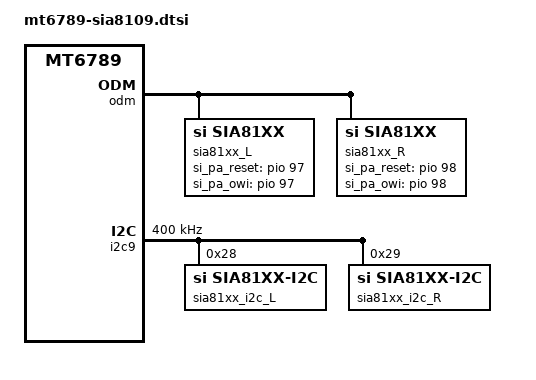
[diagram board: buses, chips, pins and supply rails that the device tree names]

/* Copyright (c) 2018, The Linux Foundation. All rights reserved.
 *
 * This program is free software; you can redistribute it and/or modify
 * it under the terms of the GNU General Public License version 2 and
 * only version 2 as published by the Free Software Foundation.
 *
 * This program is distributed in the hope that it will be useful,
 * but WITHOUT ANY WARRANTY; without even the implied warranty of
 * MERCHANTABILITY or FITNESS FOR A PARTICULAR PURPOSE.  See the
 * GNU General Public License for more details.
 */

&pio {
	sia81xx_gpio_L: sia81xx_gpio_L {
		pins_cmd_dat {
			pinmux = <PINMUX_GPIO97__FUNC_GPIO97>;

			slew-rate = <1>;
			bias-disable;
		};
	};

	sia81xx_gpio_R: sia81xx_gpio_R {
		pins_cmd_dat {
			pinmux = <PINMUX_GPIO98__FUNC_GPIO98>;

			slew-rate = <1>;
			bias-disable;
		};
	};
};

&odm {
	sia81xx_L: sia81xx@L {
		compatible = "si,sia81xx";
		si,si_pa_type = "sia8109";
		si,si_pa_reset = <&pio 97 0>;
		si,si_pa_owi = <&pio 97 0>;
		pinctrl-names = "si_pa_gpio";
		pinctrl-0 = <&sia81xx_gpio_L>;
		si,si_pa_disable_pin = <0>;
		/* the same value share a same task
		* valid value range : 0 ~ 7 */
		channel_num = <0>;

	};
	sia81xx_R: sia81xx@R {
		compatible = "si,sia81xx";
		si,si_pa_type = "sia8109";
		si,si_pa_reset = <&pio 98 0>;
		si,si_pa_owi = <&pio 98 0>;
		pinctrl-names = "si_pa_gpio";
		pinctrl-0 = <&sia81xx_gpio_R>;
		si,si_pa_disable_pin = <0>;

		/* the same value share a same task
		 * valid value range : 0 ~ 7 */
		channel_num = <1>;

	};
};

&sound {
	si,sia81xx-max-num = <2>;
	si,sia81xx-aux-devs = <&sia81xx_L>, <&sia81xx_R>;
	si,sia81xx-aux-devs-prefix = "SpkrLeft_One", "SpkrRight_One";
};

&accdet {
	accdet-mic-vol = <7>;
	headset-three-key-threshold = <0 82 170 400>;
};

&i2c9 {
	#address-cells = <1>;
	#size-cells = <0>;
	clock-frequency = <400000>;
	mediatek,use-open-drain;

	sia81xx_i2c_L: sia81xx_i2c@L {
		compatible = "si,sia81xx-i2c";
		reg = <0x28>;
		si,sipa-dev = <&sia81xx_L>;
	};

	sia81xx_i2c_R: sia81xx_i2c@R {
		compatible = "si,sia81xx-i2c";
		reg = <0x29>;
		si,sipa-dev = <&sia81xx_R>;
	};
};
